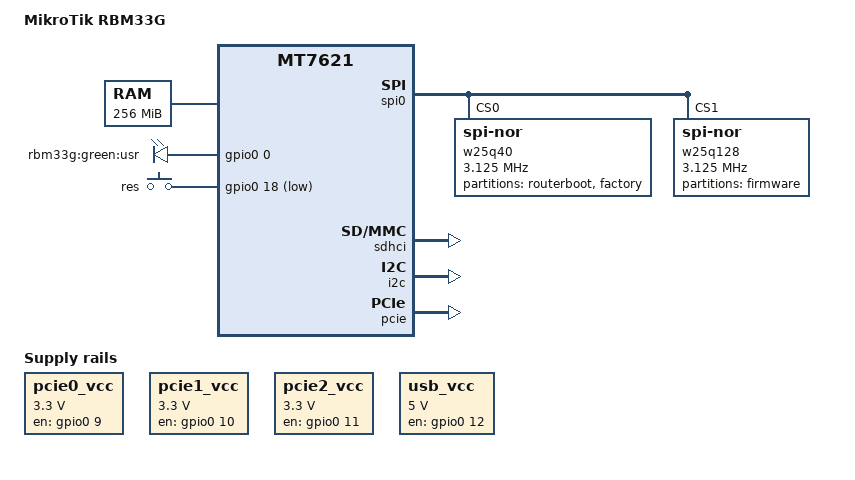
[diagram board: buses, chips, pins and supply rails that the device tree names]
/dts-v1/;

#include "mt7621.dtsi"

#include <dt-bindings/input/input.h>
#include <dt-bindings/gpio/gpio.h>

/ {
	compatible = "mikrotik,rbm33g", "mediatek,mt7621-soc";
	model = "MikroTik RBM33G";

	memory@0 {
		device_type = "memory";
		reg = <0x0 0x10000000>;
	};

	chosen {
		bootargs = "console=ttyS0,115200";
	};

	gpio-leds {
		compatible = "gpio-leds";

		usr {
			label = "rbm33g:green:usr";
			gpios = <&gpio0 0 GPIO_ACTIVE_HIGH>;
		};

	};

	gpio-keys-polled {
		compatible = "gpio-keys-polled";
		#address-cells = <1>;
		#size-cells = <0>;
		poll-interval = <20>;

		res {
			label = "res";
			gpios = <&gpio0 18 GPIO_ACTIVE_LOW>;
			linux,code = <KEY_RESTART>;
		};
	};

	pcie0_vcc_reg {
		compatible = "regulator-fixed";
		regulator-name = "pcie0_vcc";

		regulator-min-microvolt = <3300000>;
		regulator-max-microvolt = <3300000>;
		gpio = <&gpio0 9 GPIO_ACTIVE_HIGH>;
		enable-active-high;
		regulator-boot-on;
		regulator-always-on;
	};

	pcie1_vcc_reg {
		compatible = "regulator-fixed";
		regulator-name = "pcie1_vcc";

		regulator-min-microvolt = <3300000>;
		regulator-max-microvolt = <3300000>;
		gpio = <&gpio0 10 GPIO_ACTIVE_HIGH>;
		enable-active-high;
		regulator-boot-on;
		regulator-always-on;
	};

	pcie2_vcc_reg {
		compatible = "regulator-fixed";
		regulator-name = "pcie2_vcc";

		regulator-min-microvolt = <3300000>;
		regulator-max-microvolt = <3300000>;
		gpio = <&gpio0 11 GPIO_ACTIVE_HIGH>;
		enable-active-high;
		regulator-boot-on;
		regulator-always-on;
	};

	usb_vcc_reg {
		compatible = "regulator-fixed";
		regulator-name = "usb_vcc";

		regulator-min-microvolt = <5000000>;
		regulator-max-microvolt = <5000000>;
		gpio = <&gpio0 12 GPIO_ACTIVE_HIGH>;
		enable-active-high;
		regulator-always-on;
	};
};


&spi0 {
	status = "okay";

	w25q40@0 {
		#address-cells = <1>;
		#size-cells = <1>;
		compatible = "jedec,spi-nor";
		reg = <0>;
		spi-max-frequency = <3125000>;

		partition@0 {
			label = "routerboot";
			reg = <0x0 0xf000>;
			read-only;
		};

		factory: partition@f000 {
			label = "factory";
			reg = <0xf000 0x71000>;
			read-only;
		};

	};

	w25q128@0 {
		#address-cells = <1>;
		#size-cells = <1>;
		compatible = "jedec,spi-nor";
		reg = <1>;
		spi-max-frequency = <3125000>;

		partition@40000 {
			label = "firmware";
			reg = <0x040000 0xFC0000>;
		};
	};
};

&ethernet {
	mtd-mac-address = <&factory 0x0010>;
	mtd-mac-address-increment = <1>;
};


&pinctrl {
	state_default: pinctrl0 {
		gpio {
			ralink,group = "uart2", "wdt";
			ralink,function = "gpio";
		};
	};
};

&sdhci {
	status = "okay";
};

&i2c {
	status = "okay";
};

&pcie {
	status = "okay";
};
